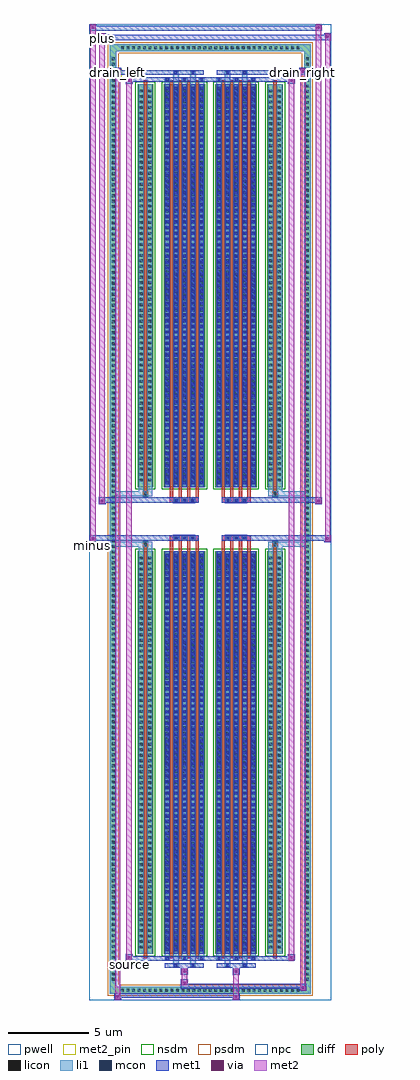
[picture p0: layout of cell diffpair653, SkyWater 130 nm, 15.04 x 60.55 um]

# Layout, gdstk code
import gdstk
lib = gdstk.Library(unit=1e-6, precision=5e-09)
def R(c, l, rs):  # rectangles x0, y0, x1, y1
    for r in rs: c.add(gdstk.rectangle(r[:2], r[2:], *l))
def A(c, l, x, y, w, h, nx, ny, dx, dy):  # array of equal rectangles
    R(c, l, [(x+i*dx, y+j*dy, x+i*dx+w, y+j*dy+h) for i in range(nx) for j in range(ny)])
def P(c, l, *ps):  # polygons
    for p in ps: c.add(gdstk.Polygon(p, *l))
pwell = (64, 44)
diff = (65, 20)
poly = (66, 20)
licon = (66, 44)
li1 = (67, 20)
mcon = (67, 44)
met1 = (68, 20)
via = (68, 44)
met2_pin = (69, 16)
met2 = (69, 20)
nsdm = (93, 44)
psdm = (94, 20)
npc = (95, 20)

diffpair653 = lib.new_cell('diffpair653')
R(diffpair653, pwell, [(-7.5,-29.84,7.5,30.71), (-4.82,-28.03,-0.01,-0.805), (0.01,-28.03,4.82,-0.805), (-4.82,0.805,-0.01,28.03), (0.01,0.805,4.82,28.03)])
A(diffpair653, diff, -5.645, -29.44, 0.41, 0.41, 33, 2, 0.34, 58.47)
A(diffpair653, diff, -6.23, -28.765, 0.41, 0.41, 1, 169, 0, 0.34)
A(diffpair653, diff, 5.82, -28.765, 0.41, 0.41, 1, 169, 0, 0.34)
R(diffpair653, diff, [(-5.645,-29.44,5.645,-29.03), (-6.23,-28.765,-5.82,28.765), (5.82,-28.765,6.23,28.765), (-4.51,-26.985,-3.53,-1.985), (-2.89,-26.985,-0.32,-1.985), (0.32,-26.985,2.89,-1.985), (3.53,-26.985,4.51,-1.985), (-4.51,1.985,-3.53,26.985), (-2.89,1.985,-0.32,26.985), (0.32,1.985,2.89,26.985), (3.53,1.985,4.51,26.985), (-5.645,29.03,5.645,29.44)])
P(diffpair653, diff, [(6.23,29.44),(-6.23,29.44),(-6.23,-29.03),(-5.82,-29.03),(-5.82,29.03),(5.82,29.03),(5.82,-29.03),(-5.82,-29.03),(-6.23,-29.03),(-6.23,-29.44),(6.23,-29.44)])
A(diffpair653, poly, -2.5, -27.235, 0.2, 25.5, 4, 2, 0.53, 28.97)
A(diffpair653, poly, 0.71, -27.235, 0.2, 25.5, 4, 2, 0.53, 28.97)
A(diffpair653, poly, -2.5, -1.735, 0.2, 0.4, 4, 2, 0.53, 3.07)
A(diffpair653, poly, 0.71, -1.735, 0.2, 0.4, 4, 2, 0.53, 3.07)
A(diffpair653, poly, -2.27, -1.335, 0.33, 0.33, 3, 2, 0.5, 2.34)
A(diffpair653, poly, 0.94, -1.335, 0.33, 0.33, 3, 2, 0.5, 2.34)
R(diffpair653, poly, [(-4.12,-27.235,-3.92,-1.735), (3.92,-27.235,4.12,-1.735), (-4.185,-1.735,-3.855,-1.405), (-4.185,-1.735,-3.855,-1.405), (3.855,-1.735,4.185,-1.405), (3.855,-1.735,4.185,-1.405), (-2.5,-1.335,-0.71,-1.005), (0.71,-1.335,2.5,-1.005), (-2.5,1.005,-0.71,1.335), (0.71,1.005,2.5,1.335), (-4.185,1.405,-3.855,1.735), (-4.185,1.405,-3.855,1.735), (3.855,1.405,4.185,1.735), (3.855,1.405,4.185,1.735), (-4.12,1.735,-3.92,27.235), (3.92,1.735,4.12,27.235)])
A(diffpair653, licon, -5.525, -29.32, 0.17, 0.17, 33, 2, 0.34, 58.47)
A(diffpair653, licon, -6.11, -28.645, 0.17, 0.17, 1, 169, 0, 0.34)
A(diffpair653, licon, 5.94, -28.645, 0.17, 0.17, 1, 169, 0, 0.34)
A(diffpair653, licon, -4.37, -26.64, 0.17, 0.17, 1, 72, 0, 0.34)
A(diffpair653, licon, -3.84, -26.64, 0.17, 0.17, 1, 72, 0, 0.34)
A(diffpair653, licon, -2.75, -26.64, 0.17, 0.17, 5, 72, 0.53, 0.34)
A(diffpair653, licon, 0.46, -26.64, 0.17, 0.17, 5, 72, 0.53, 0.34)
A(diffpair653, licon, 3.67, -26.64, 0.17, 0.17, 1, 72, 0, 0.34)
A(diffpair653, licon, 4.2, -26.64, 0.17, 0.17, 1, 72, 0, 0.34)
A(diffpair653, licon, -2.19, -1.255, 0.17, 0.17, 3, 2, 0.5, 2.34)
A(diffpair653, licon, 1.02, -1.255, 0.17, 0.17, 3, 2, 0.5, 2.34)
A(diffpair653, licon, -4.37, 2.33, 0.17, 0.17, 1, 72, 0, 0.34)
A(diffpair653, licon, -3.84, 2.33, 0.17, 0.17, 1, 72, 0, 0.34)
A(diffpair653, licon, -2.75, 2.33, 0.17, 0.17, 5, 72, 0.53, 0.34)
A(diffpair653, licon, 0.46, 2.33, 0.17, 0.17, 5, 72, 0.53, 0.34)
A(diffpair653, licon, 3.67, 2.33, 0.17, 0.17, 1, 72, 0, 0.34)
A(diffpair653, licon, 4.2, 2.33, 0.17, 0.17, 1, 72, 0, 0.34)
R(diffpair653, licon, [(-4.105,-1.655,-3.935,-1.485), (3.935,-1.655,4.105,-1.485), (-4.105,1.485,-3.935,1.655), (3.935,1.485,4.105,1.655)])
A(diffpair653, li1, -5.605, -29.4, 0.33, 0.33, 33, 2, 0.34, 58.47)
A(diffpair653, li1, -6.19, -28.725, 0.33, 0.33, 1, 169, 0, 0.34)
A(diffpair653, li1, 5.86, -28.725, 0.33, 0.33, 1, 169, 0, 0.34)
A(diffpair653, li1, -2.83, -27.36, 0.33, 0.375, 3, 2, 1.06, 54.345)
A(diffpair653, li1, -2.75, -27.36, 0.17, 0.17, 3, 2, 1.06, 54.55)
A(diffpair653, li1, 0.38, -27.36, 0.33, 0.375, 3, 2, 1.06, 54.345)
A(diffpair653, li1, 0.46, -27.36, 0.17, 0.17, 3, 2, 1.06, 54.55)
A(diffpair653, li1, -2.83, -26.985, 0.33, 25, 5, 2, 0.53, 28.97)
A(diffpair653, li1, 0.38, -26.985, 0.33, 25, 5, 2, 0.53, 28.97)
A(diffpair653, li1, -2.75, -26.81, 0.17, 0.17, 5, 69, 0.53, 0.36)
A(diffpair653, li1, -2.75, -26.81, 0.17, 24.65, 5, 2, 0.53, 28.97)
A(diffpair653, li1, 0.46, -26.81, 0.17, 0.17, 5, 69, 0.53, 0.36)
A(diffpair653, li1, 0.46, -26.81, 0.17, 24.65, 5, 2, 0.53, 28.97)
A(diffpair653, li1, -4.45, -26.72, 0.33, 0.33, 1, 72, 0, 0.34)
A(diffpair653, li1, -3.92, -26.72, 0.33, 0.33, 1, 72, 0, 0.34)
A(diffpair653, li1, -2.83, -26.72, 0.33, 0.33, 5, 72, 0.53, 0.34)
A(diffpair653, li1, 0.38, -26.72, 0.33, 0.33, 5, 72, 0.53, 0.34)
A(diffpair653, li1, 3.59, -26.72, 0.33, 0.33, 1, 72, 0, 0.34)
A(diffpair653, li1, 4.12, -26.72, 0.33, 0.33, 1, 72, 0, 0.34)
A(diffpair653, li1, -2.27, -1.335, 0.33, 0.33, 3, 2, 0.5, 2.34)
A(diffpair653, li1, 0.94, -1.335, 0.33, 0.33, 3, 2, 0.5, 2.34)
A(diffpair653, li1, -2.75, 2.16, 0.17, 0.17, 5, 69, 0.53, 0.36)
A(diffpair653, li1, 0.46, 2.16, 0.17, 0.17, 5, 69, 0.53, 0.36)
A(diffpair653, li1, -4.45, 2.25, 0.33, 0.33, 1, 72, 0, 0.34)
A(diffpair653, li1, -3.92, 2.25, 0.33, 0.33, 1, 72, 0, 0.34)
A(diffpair653, li1, -2.83, 2.25, 0.33, 0.33, 5, 72, 0.53, 0.34)
A(diffpair653, li1, 0.38, 2.25, 0.33, 0.33, 5, 72, 0.53, 0.34)
A(diffpair653, li1, 3.59, 2.25, 0.33, 0.33, 1, 72, 0, 0.34)
A(diffpair653, li1, 4.12, 2.25, 0.33, 0.33, 1, 72, 0, 0.34)
R(diffpair653, li1, [(-6.23,-29.44,-5.82,-29.03), (-6.23,-29.44,-5.82,-29.03), (-5.82,-29.44,5.82,-29.03), (5.82,-29.44,6.23,-29.03), (5.82,-29.44,6.23,-29.03), (-6.23,-29.03,-5.82,29.03), (5.82,-29.03,6.23,29.03), (-2.3,-27.79,-1.97,-26.985), (-2.22,-27.79,-2.05,-27.62), (-1.24,-27.79,-0.91,-26.985), (-1.16,-27.79,-0.99,-27.62), (0.91,-27.79,1.24,-26.985), (0.99,-27.79,1.16,-27.62), (1.97,-27.79,2.3,-26.985), (2.05,-27.79,2.22,-27.62), (-4.45,-26.985,-4.12,-1.985), (-3.92,-26.985,-3.59,-1.985), (3.59,-26.985,3.92,-1.985), (4.12,-26.985,4.45,-1.985), (-4.45,-1.985,-4.12,-1.405), (-3.92,-1.985,-3.59,-1.405), (3.59,-1.985,3.92,-1.405), (4.12,-1.985,4.45,-1.405), (-6.23,-1.735,-4.185,-1.405), (-4.45,-1.735,-4.185,-1.405), (-4.185,-1.735,-3.855,-1.405), (-3.855,-1.735,-3.59,-1.405), (3.59,-1.735,3.855,-1.405), (3.855,-1.735,4.185,-1.405), (3.855,-1.735,6.23,-1.405), (4.185,-1.735,4.45,-1.405), (-6.23,1.405,-4.185,1.735), (-4.45,1.405,-4.185,1.735), (-4.45,1.405,-4.12,1.985), (-4.185,1.405,-3.855,1.735), (-3.92,1.405,-3.59,1.985), (-3.855,1.405,-3.59,1.735), (3.59,1.405,3.855,1.735), (3.59,1.405,3.92,1.985), (3.855,1.405,4.185,1.735), (3.855,1.405,6.23,1.735), (4.12,1.405,4.45,1.985), (4.185,1.405,4.45,1.735), (-4.45,1.985,-4.12,26.985), (-3.92,1.985,-3.59,26.985), (3.59,1.985,3.92,26.985), (4.12,1.985,4.45,26.985), (-2.3,26.985,-1.97,27.79), (-1.24,26.985,-0.91,27.79), (0.91,26.985,1.24,27.79), (1.97,26.985,2.3,27.79), (-2.22,27.62,-2.05,27.79), (-1.16,27.62,-0.99,27.79), (0.99,27.62,1.16,27.79), (2.05,27.62,2.22,27.79), (-6.23,29.03,-5.82,29.44), (-6.23,29.03,-5.82,29.44), (-5.82,29.03,5.82,29.44), (5.82,29.03,6.23,29.44), (5.82,29.03,6.23,29.44)])
A(diffpair653, mcon, -2.75, -27.36, 0.17, 0.17, 3, 2, 1.06, 54.55)
A(diffpair653, mcon, 0.46, -27.36, 0.17, 0.17, 3, 2, 1.06, 54.55)
A(diffpair653, mcon, -2.75, -26.81, 0.17, 0.17, 5, 69, 0.53, 0.36)
A(diffpair653, mcon, 0.46, -26.81, 0.17, 0.17, 5, 69, 0.53, 0.36)
A(diffpair653, mcon, -2.19, -1.255, 0.17, 0.17, 3, 2, 0.5, 2.34)
A(diffpair653, mcon, 1.02, -1.255, 0.17, 0.17, 3, 2, 0.5, 2.34)
A(diffpair653, mcon, -2.75, 2.16, 0.17, 0.17, 5, 69, 0.53, 0.36)
A(diffpair653, mcon, 0.46, 2.16, 0.17, 0.17, 5, 69, 0.53, 0.36)
R(diffpair653, mcon, [(-2.22,-27.79,-2.05,-27.62), (-1.16,-27.79,-0.99,-27.62), (0.99,-27.79,1.16,-27.62), (2.05,-27.79,2.22,-27.62), (-2.22,27.62,-2.05,27.79), (-1.16,27.62,-0.99,27.79), (0.99,27.62,1.16,27.79), (2.05,27.62,2.22,27.79)])
A(diffpair653, met1, -2.81, -27.42, 0.29, 0.29, 3, 2, 1.06, 54.55)
A(diffpair653, met1, 0.4, -27.42, 0.29, 0.29, 3, 2, 1.06, 54.55)
A(diffpair653, met1, -2.81, -26.985, 0.29, 25, 5, 2, 0.53, 28.97)
A(diffpair653, met1, 0.4, -26.985, 0.29, 25, 5, 2, 0.53, 28.97)
A(diffpair653, met1, -2.81, -26.87, 0.29, 0.29, 5, 69, 0.53, 0.36)
A(diffpair653, met1, 0.4, -26.87, 0.29, 0.29, 5, 69, 0.53, 0.36)
A(diffpair653, met1, -2.25, -1.315, 0.29, 0.29, 3, 2, 0.5, 2.34)
A(diffpair653, met1, 0.96, -1.315, 0.29, 0.29, 3, 2, 0.5, 2.34)
A(diffpair653, met1, -2.81, 2.1, 0.29, 0.29, 5, 69, 0.53, 0.36)
A(diffpair653, met1, 0.4, 2.1, 0.29, 0.29, 5, 69, 0.53, 0.36)
R(diffpair653, met1, [(-5.96,-29.84,-5.53,-29.41), (1.39,-29.84,1.82,-29.41), (-5.96,-29.7,1.82,-29.41), (5.53,-29.27,5.96,-28.84), (-1.82,-29.13,5.96,-28.84), (-1.82,-28.99,-1.39,-28.56), (-1.82,-28.28,-1.39,-27.85), (1.39,-28.28,1.82,-27.85), (-2.81,-27.85,-0.4,-27.56), (-2.28,-27.85,-1.99,-27.56), (-1.22,-27.85,-0.93,-27.56), (0.4,-27.85,2.81,-27.56), (0.93,-27.85,1.22,-27.56), (1.99,-27.85,2.28,-27.56), (-5.25,-27.42,-4.82,-26.99), (-5.25,-27.42,-2.81,-27.13), (-2.81,-27.42,-0.4,-27.13), (-0.4,-27.42,0.4,-27.13), (0.4,-27.42,2.81,-27.13), (2.81,-27.42,5.25,-27.13), (4.82,-27.42,5.25,-26.99), (-7.5,-1.435,-7.07,-1.005), (7.07,-1.435,7.5,-1.005), (-7.5,-1.335,-0.71,-1.005), (-2.5,-1.335,-0.71,-1.005), (0.71,-1.335,2.5,-1.005), (0.71,-1.335,7.5,-1.005), (-6.93,0.905,-6.5,1.335), (6.5,0.905,6.93,1.335), (-6.93,1.005,-2.5,1.335), (-2.5,1.005,-0.71,1.335), (0.71,1.005,2.5,1.335), (2.5,1.005,6.93,1.335), (-5.25,26.99,-4.82,27.42), (4.82,26.99,5.25,27.42), (-5.25,27.13,-2.81,27.42), (-2.81,27.13,-0.4,27.42), (-0.4,27.13,0.4,27.42), (0.4,27.13,2.81,27.42), (2.81,27.13,5.25,27.42), (-5.96,27.56,-5.53,27.99), (-5.96,27.56,-2.81,27.85), (-2.81,27.56,-0.4,27.85), (-2.28,27.56,-1.99,27.85), (-1.22,27.56,-0.93,27.85), (0.4,27.56,2.81,27.85), (0.93,27.56,1.22,27.85), (1.99,27.56,2.28,27.85), (2.81,27.56,5.96,27.85), (5.53,27.56,5.96,27.99), (-6.93,29.71,-6.5,30.14), (-6.93,29.71,-4.82,30.04), (-4.82,29.71,4.82,30.04), (4.82,29.71,7.5,30.04), (7.07,29.71,7.5,30.14), (-7.5,30.28,-7.07,30.71), (-7.5,30.28,-4.82,30.61), (-4.82,30.28,4.82,30.61), (4.82,30.28,6.93,30.61), (6.5,30.28,6.93,30.71)])
R(diffpair653, via, [(-5.82,-29.7,-5.67,-29.55), (1.53,-29.7,1.68,-29.55), (5.67,-29.13,5.82,-28.98), (-1.68,-28.85,-1.53,-28.7), (-1.68,-28.14,-1.53,-27.99), (1.53,-28.14,1.68,-27.99), (-5.11,-27.28,-4.96,-27.13), (4.96,-27.28,5.11,-27.13), (-7.36,-1.295,-7.21,-1.145), (7.21,-1.295,7.36,-1.145), (-6.79,1.045,-6.64,1.195), (6.64,1.045,6.79,1.195), (-5.11,27.13,-4.96,27.28), (4.96,27.13,5.11,27.28), (-5.82,27.7,-5.67,27.85), (5.67,27.7,5.82,27.85), (-6.79,29.85,-6.64,30), (7.21,29.85,7.36,30), (-7.36,30.42,-7.21,30.57), (6.64,30.42,6.79,30.57)])
R(diffpair653, met2_pin, [(-5.285,-27.87,-4.785,-27.37), (-7.535,-1.885,-7.035,-1.385), (-5.995,27.44,-5.495,27.94), (5.495,27.44,5.995,27.94), (-6.965,29.59,-6.465,30.09)])
R(diffpair653, met2, [(-5.91,-29.79,-5.58,-29.46), (-5.91,-29.79,-5.58,27.94), (1.44,-29.79,1.77,-29.46), (1.44,-29.46,1.77,-28.23), (5.58,-29.22,5.91,-28.89), (5.58,-29.22,5.91,27.94), (-1.77,-28.94,-1.44,-28.61), (-1.77,-28.61,-1.44,-28.23), (-1.77,-28.23,-1.44,-27.9), (1.44,-28.23,1.77,-27.9), (-5.2,-27.37,-4.87,-27.04), (-5.2,-27.37,-4.87,27.37), (4.87,-27.37,5.2,-27.04), (4.87,-27.37,5.2,27.37), (-7.45,-1.385,-7.12,-1.055), (-7.45,-1.385,-7.12,30.66), (7.12,-1.385,7.45,-1.055), (7.12,-1.385,7.45,30.09), (-6.88,0.955,-6.55,1.285), (-6.88,0.955,-6.55,30.09), (6.55,0.955,6.88,1.285), (6.55,0.955,6.88,30.66), (-5.2,27.04,-4.87,27.37), (4.87,27.04,5.2,27.37), (-5.91,27.61,-5.58,27.94), (5.58,27.61,5.91,27.94), (-6.88,29.76,-6.55,30.09), (7.12,29.76,7.45,30.09), (-7.45,30.33,-7.12,30.66), (6.55,30.33,6.88,30.66)])
P(diffpair653, met2, [(7.45,-1.385),(7.45,-1.385),(7.45,-1.055),(7.45,-1.055)],
  [(7.45,29.76),(7.45,29.76),(7.45,30.09),(7.45,30.09)],
  [(-7.12,-1.385),(-7.12,-1.385),(-7.12,-1.055),(-7.12,-1.055)],
  [(-7.12,30.33),(-7.12,30.33),(-7.12,30.66),(-7.12,30.66)],
  [(6.88,0.955),(6.88,0.955),(6.88,1.285),(6.88,1.285)],
  [(6.88,30.33),(6.88,30.33),(6.88,30.66),(6.88,30.66)],
  [(-6.55,0.955),(-6.55,0.955),(-6.55,1.285),(-6.55,1.285)],
  [(-6.55,29.76),(-6.55,29.76),(-6.55,30.09),(-6.55,30.09)],
  [(-5.58,-29.79),(-5.58,-29.79),(-5.58,-29.46),(-5.58,-29.46)],
  [(-5.58,27.61),(-5.58,27.61),(-5.58,27.94),(-5.58,27.94)],
  [(5.91,-29.22),(5.91,-29.22),(5.91,-28.89),(5.91,-28.89)],
  [(5.91,27.61),(5.91,27.61),(5.91,27.94),(5.91,27.94)],
  [(-4.87,-27.37),(-4.87,-27.37),(-4.87,-27.04),(-4.87,-27.04)],
  [(-4.87,27.04),(-4.87,27.04),(-4.87,27.37),(-4.87,27.37)],
  [(5.2,-27.37),(5.2,-27.37),(5.2,-27.04),(5.2,-27.04)],
  [(5.2,27.04),(5.2,27.04),(5.2,27.37),(5.2,27.37)])
R(diffpair653, nsdm, [(-4.64,-27.115,-3.4,-1.855), (-3.02,-27.115,-0.19,-1.855), (0.19,-27.115,3.02,-1.855), (3.4,-27.115,4.64,-1.855), (-4.64,1.855,-3.4,27.115), (-3.02,1.855,-0.19,27.115), (0.19,1.855,3.02,27.115), (3.4,1.855,4.64,27.115)])
P(diffpair653, psdm, [(6.36,29.57),(-6.36,29.57),(-6.36,-28.9),(-5.69,-28.9),(-5.69,28.9),(5.69,28.9),(5.69,-28.9),(-5.69,-28.9),(-6.36,-28.9),(-6.36,-29.57),(6.36,-29.57)])
A(diffpair653, npc, -2.29, -1.355, 0.37, 0.37, 3, 2, 0.5, 2.34)
A(diffpair653, npc, 0.92, -1.355, 0.37, 0.37, 3, 2, 0.5, 2.34)
R(diffpair653, npc, [(-4.205,-1.755,-3.835,-1.385), (3.835,-1.755,4.205,-1.385), (-2.29,-1.355,-1.42,-0.985), (-2.29,-1.355,-1.42,-0.985), (-1.79,-1.355,-0.92,-0.985), (-1.79,-1.355,-0.92,-0.985), (0.92,-1.355,1.79,-0.985), (0.92,-1.355,1.79,-0.985), (1.42,-1.355,2.29,-0.985), (1.42,-1.355,2.29,-0.985), (-2.29,0.985,-1.42,1.355), (-2.29,0.985,-1.42,1.355), (-1.79,0.985,-0.92,1.355), (-1.79,0.985,-0.92,1.355), (0.92,0.985,1.79,1.355), (0.92,0.985,1.79,1.355), (1.42,0.985,2.29,1.355), (1.42,0.985,2.29,1.355), (-4.205,1.385,-3.835,1.755), (3.835,1.385,4.205,1.755)])
diffpair653.add(gdstk.Label('minus', (-7.285,-1.635), layer=69, texttype=5))
diffpair653.add(gdstk.Label('drain_right', (5.745,27.69), layer=69, texttype=5))
diffpair653.add(gdstk.Label('drain_left', (-5.745,27.69), layer=69, texttype=5))
diffpair653.add(gdstk.Label('source', (-5.035,-27.62), layer=69, texttype=5))
diffpair653.add(gdstk.Label('plus', (-6.715,29.84), layer=69, texttype=5))

lib.write_gds('diffpair653.gds')
